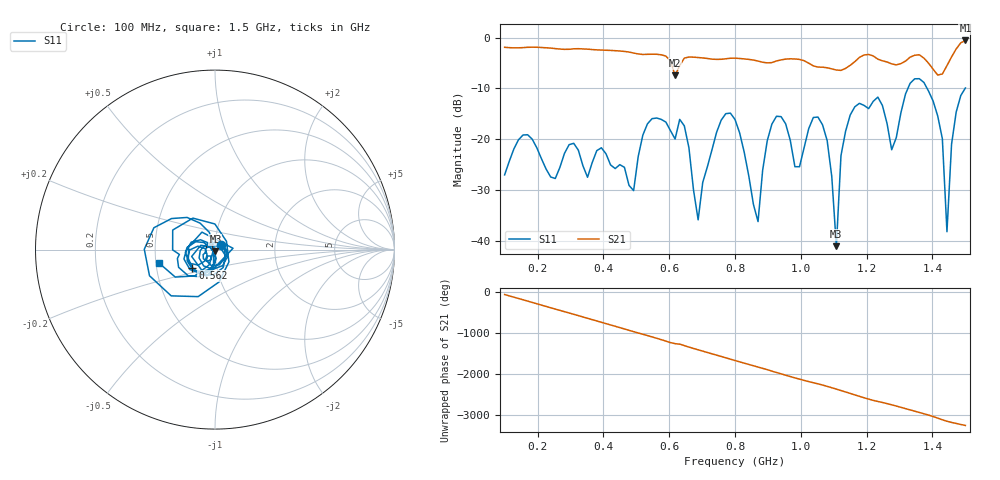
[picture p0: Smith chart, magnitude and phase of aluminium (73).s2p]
! NanoVNA-App
! Date: 2025-09-25 14:55:50
! Start: 100MHz Stop: 1,5GHz Points: 101
! S-Parameter data: F S11 S21 S12 S22
# Hz S RI R 50
!  Frequency  S11_Real  S11_Imag  S21_Real  S21_Imag  S12_Real  S12_Imag  S22_Real  S22_Imag
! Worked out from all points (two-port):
!   101 points, 100 MHz to 1.5 GHz, reference 50 ohm
!   highest |S21| = -0.57 dB at 1.5 GHz (marker M1); lowest = -7.4 dB at 618 MHz (marker M2)
!   |S21| within 3 dB of the highest: start of sweep to 586.1 MHz; 1.46 GHz to end of sweep (the widest 2 of 4)
!   lowest |S11| = -41.0 dB at 1.108 GHz (marker M3), VSWR 1.02, Z = 50.2 - j0.864 ohm
!   |S11| at or under -10 dB: start of sweep to 1.325 GHz; 1.384 GHz to 1.499 GHz (115.6 MHz wide, 8.02 % of centre)
!   S12 and S22 are empty: the file has one direction only
!   S11 on the Smith chart (normalised r, x): 100 MHz: 1.07, +0.06; 562 MHz: 0.76, -0.16; 1.5 GHz: 0.52, -0.09
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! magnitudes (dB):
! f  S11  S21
! 100 MHz  -27.0  -1.9
! 338 MHz  -25.2  -2.2
! 492 MHz  -30.1  -3.0
! 562 MHz  -15.8  -3.3
! 576 MHz  -16.1  -3.4
! 618 MHz  -19.9  -7.4
! 688 MHz  -35.8  -3.9
! 800 MHz  -16.1  -4.1
! 870 MHz  -36.2  -4.6
! 912 MHz  -17.0  -4.9
! 996 MHz  -25.4  -4.3
! 1.038 GHz  -15.7  -5.6
! 1.08 GHz  -20.2  -5.9
! 1.108 GHz  -41.0  -6.4
! 1.122 GHz  -23.2  -6.5
! 1.164 GHz  -13.6  -4.7
! 1.276 GHz  -22.1  -5.2
! 1.374 GHz  -8.8  -4.0
! 1.43 GHz  -19.9  -7.2
! 1.444 GHz  -38.2  -5.5
! 1.458 GHz  -21.0  -3.8
! 1.5 GHz  -9.9  -0.6
